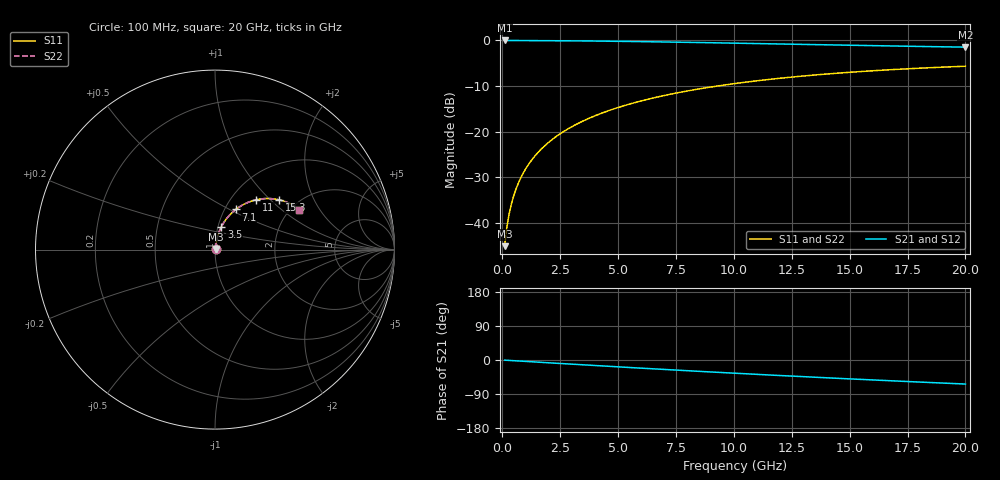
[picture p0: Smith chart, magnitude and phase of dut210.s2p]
! Touchstone file exported from HFSS 2026.1.0
!  File:  C:/ffzhzh/LocalFiles/Ansys_Project_Files/temp_train_TMRDL_210_1782984122_6248.aedt
!  Generated:  05:23:36 PM Jul  2, 2026
!  Design:  TMRDL
!  Project:  temp_train_TMRDL_210_1782984122_6248
! Variables:
!  h_bsmrdl = 2um
!  h_ox = 20um
!  h_rdl = 5um
!  h_sub = 80um
!  h_tmrdl = 3.84um
!  h_tsv = 80um
!  h_via = 3um
!  l_bsmrdl = 300um
!  l_sub = 1396.64um
!  l_tmrdl = 996.64um
!  m_sub = 200um
!  pitch = 59.99um
!  r_tsv = 6um
!  s_tmrdl = 10um
!  w_bsmrdl = 18um
!  w_sub = 500um
!  w_tmrdl = 26.27um
!  x_tsv_center1 = 1009.775um
!  x_tsv_center2 = 1327.775um
!  x_tsv_center3 = 2350.685um
!  x_tsv_center4 = 2668.685um
!  x_tsv_center5 = 3691.595um
!  x_tsv_center6 = 4009.595um
# GHz S MA R 50.000000
! Terminal data exported
! Port[1] = TM_RDL1_1_T1
! Port[2] = TM_RDL1_1_T2
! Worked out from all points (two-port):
!   200 points, 100 MHz to 20 GHz, reference 50 ohm
!   highest |S21| = -0.03 dB at 100 MHz (marker M1); lowest = -1.5 dB at 20 GHz (marker M2)
!   |S21| within 3 dB of the highest: start of sweep to end of sweep
!   lowest |S11| = -45.1 dB at 100 MHz (marker M3), VSWR 1.01, Z = 50.4 + j0.418 ohm
!   |S11| at or under -10 dB: start of sweep to 9.294 GHz
!   |S22| runs from -45.1 to -5.7 dB; largest |S21 - S12| = 5.3e-15
!   S11 on the Smith chart (normalised r, x): 100 MHz: 1.01, +0.01; 3.5 GHz: 1.04, +0.27; 7.1 GHz: 1.13, +0.54; 11 GHz: 1.30, +0.83; 15.3 GHz: 1.62, +1.13; 20 GHz: 2.21, +1.35
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0.1  0.005589 48.0  0.9963 -0.4  0.9963 -0.4  0.005589 48.0
! Gamma 0 0 0 0
! Port Impedance 50 0 50 0
0.2  0.009097 63.5  0.996 -0.8  0.996 -0.8  0.009097 63.5
0.3  0.01276 69.7  0.9957 -1.1  0.9957 -1.1  0.01276 69.7
0.4  0.01645 73.2  0.9955 -1.5  0.9955 -1.5  0.01645 73.2
0.5  0.02014 75.3  0.9953 -1.9  0.9953 -1.9  0.02014 75.3
0.7  0.02759 77.7  0.995 -2.6  0.995 -2.6  0.02759 77.7
1  0.03883 79.2  0.9945 -3.7  0.9945 -3.7  0.03883 79.2
1.4  0.05388 79.5  0.9936 -5.2  0.9936 -5.2  0.05388 79.5
2  0.07638 78.6  0.9918 -7.4  0.9918 -7.4  0.07638 78.6
2.7  0.1023 76.8  0.989 -9.9  0.989 -9.9  0.1023 76.8
3.5  0.1314 74.4  0.9849 -12.8  0.9849 -12.8  0.1314 74.4
4.2  0.1563 72.2  0.9807 -15.3  0.9807 -15.3  0.1563 72.2
5  0.1839 69.5  0.9753 -18.1  0.9753 -18.1  0.1839 69.5
6.8  0.2428 63.6  0.961 -24.3  0.961 -24.3  0.2428 63.6
7.1  0.2522 62.6  0.9585 -25.3  0.9585 -25.3  0.2522 62.6
8.5  0.2939 58.1  0.9458 -30.0  0.9458 -30.0  0.2939 58.1
10.1  0.3378 53.1  0.9304 -35.1  0.9304 -35.1  0.3378 53.1
11  0.3607 50.3  0.9216 -37.9  0.9216 -37.9  0.3607 50.3
13.4  0.4153 43.2  0.898 -45.2  0.898 -45.2  0.4153 43.2
15.3  0.4521 37.8  0.8801 -50.7  0.8801 -50.7  0.4521 37.8
16.7  0.4757 34.0  0.8676 -54.6  0.8676 -54.6  0.4757 34.0
20  0.5205 25.3  0.8419 -63.5  0.8419 -63.5  0.5205 25.3
